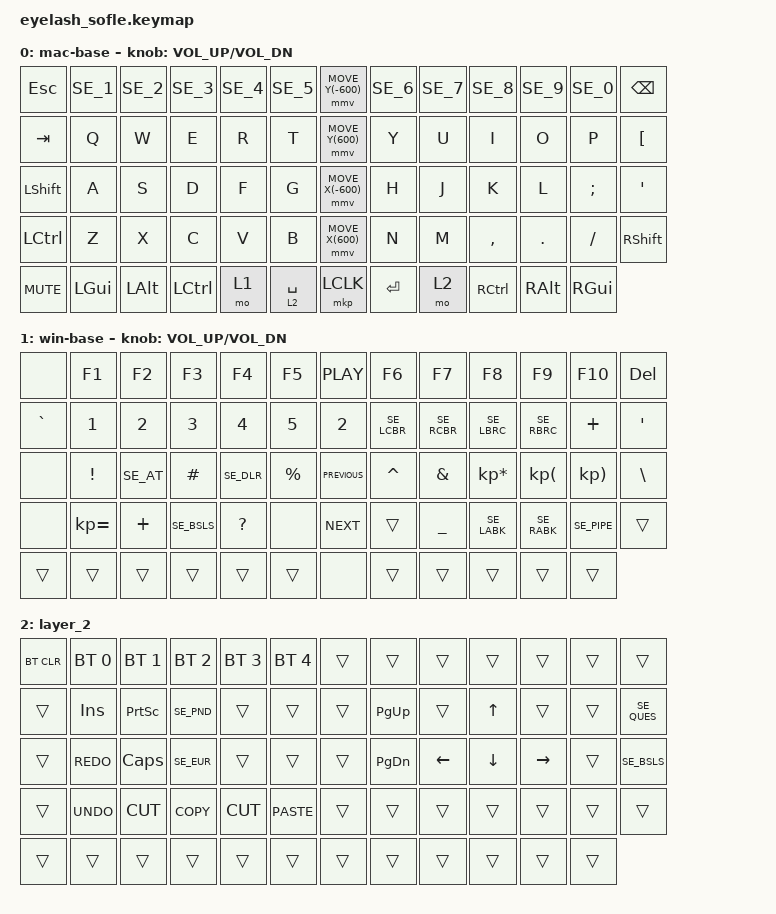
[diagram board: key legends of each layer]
#define ZMK_POINTING_DEFAULT_MOVE_VAL 1500  // default: 600
#define ZMK_POINTING_DEFAULT_SCRL_VAL 20    // default: 10

#include <dt-bindings/zmk/mouse.h>
#include <input/processors.dtsi>
#include <behaviors.dtsi>
#include <dt-bindings/zmk/bt.h>
#include <dt-bindings/zmk/keys.h>
#include <dt-bindings/zmk/pointing.h>
#include <dt-bindings/zmk/pointing.h>
#include <dt-bindings/zmk/rgb.h>


/*

   &mmv_input_listener {
       input-processors = <&zip_xy_scaler 2 1>;
   };

   &msc_input_listener {
       input-processors = <&zip_xy_scaler 2 1>;
   };

 */

#define ZMK_MOUSE_DEFAULT_MOVE_VAL 1200  // 600
#define ZMK_MOUSE_DEFAULT_SCRL_VAL 20    // 10

/ {
    behaviors {
        mmv {
            acceleration-exponent = <1>;      // 1
            time-to-max-speed-ms = <900>;    // 40
            delay-ms = <0>;                   // 0
        };

        msc {
            acceleration-exponent = <1>;      // 0
            time-to-max-speed-ms = <400>;      // 500
            delay-ms = <0>;                   //   10
        };
    };

    scroll_encoder: scroll_encoder {
        compatible = "zmk,behavior-sensor-rotate";
        #sensor-binding-cells = <0>;
        bindings = <&msc SCRL_DOWN>, <&msc SCRL_UP>;

        tap-ms = <30>;
    };

    SandS: SandS {
        compatible = "zmk,behavior-hold-tap";
        label = "SANDS";
        bindings = <&kp>, <&kp>;

        #binding-cells = <2>;
        tapping-term-ms = <200>;
        flavor = "hold-preferred";
        retro-tap;
    };

    keymap {
        compatible = "zmk,keymap";

        layer_0 {
// ------------------------------------------------------------------------------------------------------------
// |  ESC  |  1  |  2  |  3   |  4   |  5   |                   |  6   |  7    |  8    |  9   |   0   | BKSPC |
// |  TAB  |  Q  |  W  |  E   |  R   |  T   |                   |  Y   |  U    |  I    |  O   |   P   |   Å   |
// | SHIFT |  A  |  S  |  D   |  F   |  G   |                   |  H   |  J    |  K    |  L   |   Ö   |   Ä   |
// | LCTRL |  Z  |  X  |  C   |  V   |  B   |  MUTE  |  |  JOY  |  N   |  M    |  ,    |  .   |   -   | SHIFT |
//               | GUI | ALT  | CTRL | LOWER|  SPACE |  | ENTER | RAISE| CTRL  | ALT   | GUI  |

            bindings = <
&kp ESCAPE       &kp SE_1      &kp SE_2      &kp SE_3        &kp SE_4      &kp SE_5       &mmv MOVE_Y(-600)  &kp SE_6      &kp SE_7      &kp SE_8           &kp SE_9      &kp SE_0       &kp BACKSPACE
&kp TAB          &kp Q         &kp W         &kp E           &kp R         &kp T          &mmv MOVE_Y(600)   &kp Y         &kp U         &kp I              &kp O         &kp P          &kp LBKT
&kp LEFT_SHIFT   &kp A         &kp S         &kp D           &kp F         &kp G          &mmv MOVE_X(-600)  &kp H         &kp J         &kp K              &kp L         &kp SEMICOLON  &kp SQT
&kp LCTRL        &kp Z         &kp X         &kp C           &kp V         &kp B          &mmv MOVE_X(600)   &kp N         &kp M         &kp COMMA          &kp PERIOD    &kp FSLH       &kp RIGHT_SHIFT
&kp C_MUTE       &kp LEFT_GUI  &kp LEFT_ALT  &kp LCTRL       &mo 1         &lt 2 SPACE    &mkp LCLK    	     &kp RETURN    &mo 2         &kp RIGHT_CONTROL  &kp RIGHT_ALT &kp RIGHT_GUI  
            >;

            sensor-bindings = <&inc_dec_kp C_VOLUME_UP C_VOL_DN>;
            display-name = "mac-base";
        };

        layer_1 {
// ------------------------------------------------------------------------------------------------------------
// |       |  F1 |  F2 |  F3  |  F4  |  F5  |                   |  F6  |  F7   |  F8   |  F9  |  F10  |  DEL  |
// |   §   |  1  |  2  |  3   |  4   |  5   |                   |  {   |   }   |  [    |  ]   |   `   |       |
// |       |  !  |  @  |  #   |  $   |  %   |                   |  &   |   /   |  *    |  (   |   )   |   '   |
// |       |  =  |  +  |  \   |  _   |      |        |  |  MUS  |      |   <   |  >    |  |   |       |       |
//               |     |      |      |      |        |  |       |      |       |       |      |

            display-name = "win-base";
            bindings = <
&none            &kp F1        &kp F2        &kp F3          &kp F4                 &kp F5           &kp C_PLAY     	   &kp F6             &kp F7             &kp F8                &kp F9                 &kp F10                &kp DELETE
&kp GRAVE        &kp N1        &kp N2        &kp N3          &kp N4                 &kp N5           &kp N2  &kp SE_LCBR        &kp SE_RCBR        &kp SE_LBRC           &kp SE_RBRC            &kp PLUS               &kp SQT
&none            &kp EXCL      &kp SE_AT     &kp POUND       &kp SE_DLR             &kp PERCENT      &kp C_PREVIOUS        &kp CARET          &kp AMPS           &kp KP_MULTIPLY       &kp KP_LPAR            &kp KP_RPAR            &kp BACKSLASH
&none 	 	 &kp KP_EQUAL  &kp PLUS      &kp SE_BSLS     &kp QUESTION           &none            &kp C_NEXT            &trans             &kp UNDER          &kp SE_LABK           &kp SE_RABK            &kp SE_PIPE            &trans           
&trans           &trans        &trans        &trans          &trans                 &trans           &none                 &trans             &trans             &trans                &trans                 &trans                 
            >;

            sensor-bindings = <&inc_dec_kp C_VOLUME_UP C_VOL_DN>;
        };
		
        layer_2 {
// ------------------------------------------------------------------------------------------------------------
// | BTCLR | BT1  | BT2  |  BT3  |  BT4  | BT5  |                |      |      |       |      |       |       |
// |       | INS  | PSCR |   £   |       |      |                | PGUP |      |   ^   |      |       |   ?   |
// |       | REDO | CAPS |   €   |       |      |                | PGDN |   <- |   v   |  ->  |       |   \   |
// |       | UNDO |  CUT | COPY  | PASTE |      |      |  |      |      |      |       |      |       |       |
//                |      |       |       |      |      |  |      |      |      |       |      |

            bindings = <
&bt BT_CLR   &bt BT_SEL 0  &bt BT_SEL 1   &bt BT_SEL 2   &bt BT_SEL 3   &bt BT_SEL 4    &trans     &trans       &trans            &trans          &trans           &trans   &trans
&trans       &kp INSERT    &kp PSCRN      &kp SE_PND     &trans         &trans          &trans     &kp PG_UP    &trans            &kp UP_ARROW    &trans           &trans   &kp SE_QUES
&trans       &kp K_REDO    &kp CAPS       &kp SE_EUR     &trans         &trans          &trans     &kp PG_DN    &kp LEFT_ARROW    &kp DOWN_ARROW  &kp RIGHT_ARROW  &trans   &kp SE_BSLS
&trans       &kp K_UNDO    &kp K_CUT      &kp K_COPY     &kp K_CUT      &kp K_PASTE     &trans     &trans       &trans            &trans          &trans           &trans   &trans
&trans       &trans        &trans         &trans         &trans         &trans          &trans     &trans       &trans            &trans          &trans           &trans
            >;
        };
    };
};
